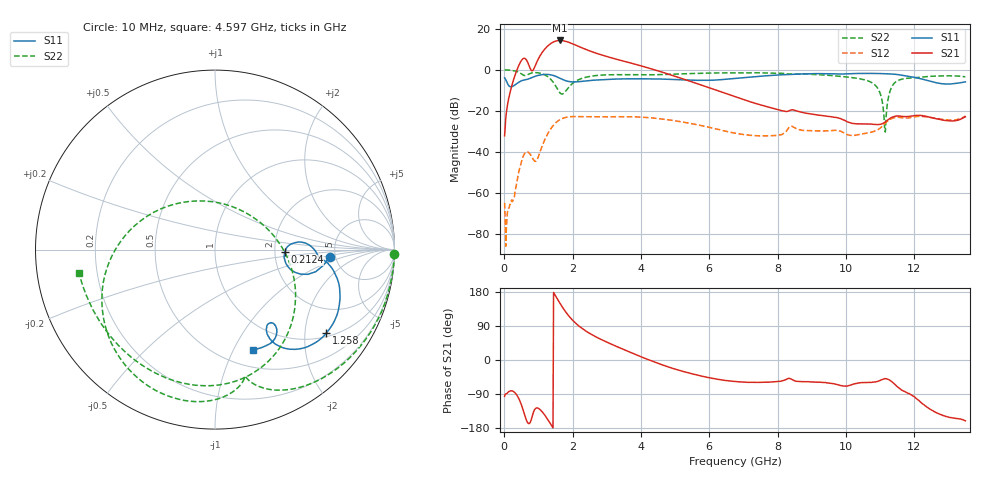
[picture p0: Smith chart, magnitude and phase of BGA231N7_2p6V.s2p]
! Infineon Technologies AG
! BGA231N7
! Silicon Germanium GPS Low Noise Amplifier in TSNP-7-1
! Vcc=2.6V, PON=1.8V
! C1=1uF, L1=39nH (Murata_LQP03T_0201)
! Measured S- and Noise Parameters
# Hz S  MA  R 50
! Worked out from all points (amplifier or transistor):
!   801 points, 10 MHz to 13.5 GHz, reference 50 ohm
!   highest |S21| = 14.3 dB at 1.629 GHz (marker M1)
!   |S21| within 3 dB of that: 1.253 GHz to 2.192 GHz (939.2 MHz wide, 54.5 % of centre)
!   unconditionally stable (mu >= 1): start of sweep to end of sweep
!   at 2.253 GHz: K = 1.17, MAG = 14.3 dB, |S12| = -22.7 dB
!   at 6.755 GHz: K = 13.43, MAG = -5.4 dB, |S12| = -30.8 dB
!   at 13.5 GHz: K = 36.80, MAG = -18.9 dB, |S12| = -22.5 dB
!   lowest NFmin = 0.54 dB at 1.575 GHz
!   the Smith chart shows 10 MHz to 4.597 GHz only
!   S11 on the Smith chart (normalised r, x): 10 MHz: 4.53, -0.60; 212.3 MHz: 2.27, -0.08; 1.258 GHz: 1.10, -2.58; 4.597 GHz: 0.69, -1.20
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1e7  0.6434 -3.4  0.02489 -96.0  0.0005798 160.9  0.9997 -1.5
2.1235e8  0.3882 -2.3  0.3887 -81.3  0.0006809 129.8  0.9734 -33.0
4.8215e8  0.5336 2.1  1.593 -113.7  0.005119 168.2  0.8199 -70.4
6.1705e8  0.5725 -3.1  1.864 -150.9  0.009729 133.8  0.7267 -76.7
7.5195e8  0.6224 -6.2  1.116 -166.0  0.009006 104.9  0.8131 -85.1
9.374375e8  0.7137 -15.1  1.445 -126.7  0.006123 133.3  0.8564 -108.1
1.106062e9  0.7658 -26.2  2.627 -136.3  0.01378 161.1  0.8048 -130.8
1.257825e9  0.7753 -36.9  3.714 -154.7  0.02643 153.5  0.6982 -154.4
1.460175e9  0.7196 -50.4  4.86 175.6  0.04691 131.2  0.4646 163.0
1.6288e9  0.6251 -57.4  5.198 149.9  0.06147 109.8  0.2769 102.2
1.881738e9  0.5229 -56.7  4.707 117.1  0.07174 82.1  0.3738 1.8
2.269575e9  0.5244 -51.6  3.456 83.7  0.0728 55.1  0.6194 -49.2
3.04525e9  0.589 -54.7  2.062 45.4  0.07213 26.6  0.7593 -92.9
4.512288e9  0.5998 -67.8  0.9398 -9.1  0.06552 -16.4  0.7653 -166.7
4.5966e9  0.5975 -69.3  0.8942 -12.0  0.06422 -18.5  0.7686 -170.2
6.755e9  0.617 -145.9  0.2221 -56.7  0.02886 -41.5  0.8524 161.7
9.014575e9  0.8066 -167.4  0.08366 -57.8  0.03307 -35.7  0.7775 167.6
1.075141e10  0.8201 -150.4  0.04794 -59.1  0.03065 -38.6  0.4941 114.5
1.113925e10  0.8079 -150.1  0.05296 -49.2  0.0488 -35.7  0.03275 105.7
1.125729e10  0.7994 -150.5  0.06304 -51.9  0.05953 -44.9  0.2358 -159.1
1.218472e10  0.6111 -171.3  0.07841 -110.9  0.07462 -114.7  0.6644 115.5
1.35e10  0.5103 108.5  0.07221 -160.4  0.0754 -161.1  0.6802 78.7
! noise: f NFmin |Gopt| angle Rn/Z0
1.575e+09  0.54  0.44  47.3  0.14
1.61e+09  0.54  0.44  48.2  0.13
